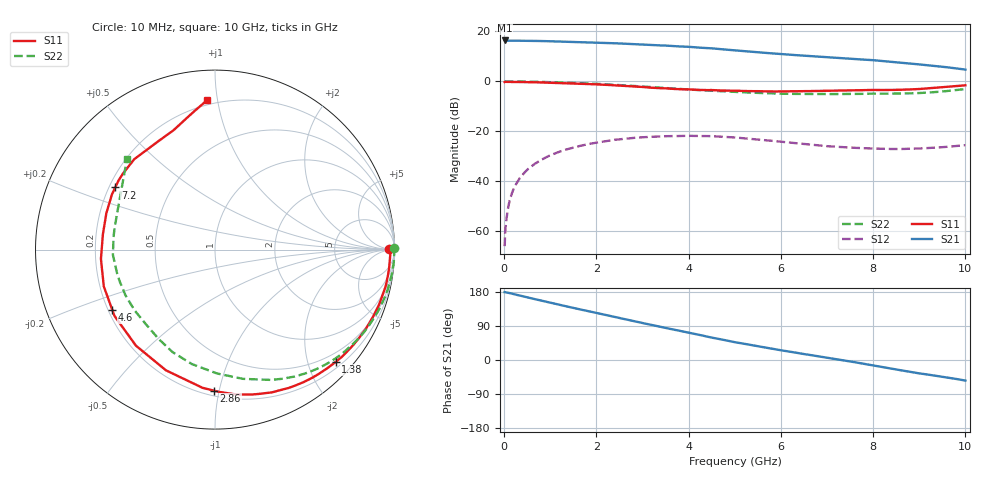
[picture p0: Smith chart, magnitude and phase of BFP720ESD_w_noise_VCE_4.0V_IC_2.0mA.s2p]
! Infineon Technologies  Discrete & RF Semiconductors
! BFP720ESD
! VCE =  4.0 V,  IC =  2.0 mA
! Common Emitter S-Parameters:  Jan 2016
# GHz  S  MA  R  50
!  f  S11  S21  S12  S22
! GHz  MAG  ANG  MAG  ANG  MAG  ANG  MAG  ANG
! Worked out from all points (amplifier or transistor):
!   233 points, 10 MHz to 10 GHz, reference 50 ohm
!   highest |S21| = 16.4 dB at 10 MHz (marker M1)
!   |S21| within 3 dB of that: start of sweep to 4.34 GHz
!   unconditionally stable (mu >= 1): 6.905 GHz to 9.659 GHz
!   at 200 MHz: K = 0.06, MSG = 29.8 dB, |S12| = -43.3 dB
!   at 1.74 GHz: K = 0.18, MSG = 20.6 dB, |S12| = -25.4 dB
!   at 10 GHz: K = 0.69, MSG = 15.1 dB, |S12| = -25.5 dB
!   lowest NFmin = 0.53 dB at 450 MHz
!   S11 on the Smith chart (normalised r, x): 10 MHz: 62, +7; 1.38 GHz: 0.31, -2.50; 2.86 GHz: 0.23, -0.97; 4.6 GHz: 0.22, -0.26; 7.2 GHz: 0.22, +0.27; 10 GHz: 0.17, +0.94
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0.01  0.9684 0.2  6.614 179.1  0.0005 3.3  0.9997 0.6
0.03  0.9806 -0.6  6.504 178.8  0.0012 79.1  0.9964 -0.4
0.105  0.9757 -3.2  6.548 176.9  0.0036 84.3  0.9989 -2.3
0.32  0.973 -9.8  6.549 170.6  0.0109 81.4  0.9955 -7.2
0.7  0.9593 -21.6  6.48 159.7  0.0235 72.6  0.9824 -15.7
0.9  0.9487 -27.9  6.413 154.1  0.0299 67.8  0.9728 -20.2
1.38  0.9183 -43.0  6.232 140.7  0.0441 56.6  0.9428 -30.9
1.68  0.8977 -52.3  6.115 132.6  0.0519 49.8  0.9211 -37.5
2.38  0.8373 -74.2  5.821 114.1  0.0673 34.6  0.8595 -52.8
2.86  0.7859 -90.4  5.584 101.3  0.0747 24.1  0.8053 -63.6
3.4  0.7301 -108.5  5.258 87.2  0.079 12.8  0.7451 -75.5
4  0.6933 -129.4  4.934 72.0  0.0813 1.6  0.6905 -89.0
4.6  0.6637 -149.5  4.508 56.9  0.079 -9.2  0.6423 -103.5
5.1  0.6467 -164.4  4.125 45.0  0.074 -17.0  0.6108 -114.4
5.5  0.6376 -175.3  3.844 36.1  0.0689 -22.1  0.5884 -122.3
6  0.6304 172.2  3.541 25.7  0.0618 -26.2  0.567 -132.5
6.8  0.6441 155.6  3.129 10.0  0.0526 -27.5  0.5586 -148.9
7.2  0.6549 148.1  2.962 2.2  0.0491 -26.2  0.5583 -157.4
8  0.6754 131.8  2.664 -14.6  0.0452 -21.5  0.5696 -177.0
8.4  0.675 122.3  2.462 -23.0  0.0442 -18.2  0.5694 173.1
9  0.7043 109.1  2.191 -35.3  0.0453 -12.7  0.5849 158.0
10  0.8349 92.9  1.726 -54.3  0.0528 -8.2  0.7027 134.3
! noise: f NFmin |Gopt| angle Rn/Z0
0.45  0.53  0.7  6  0.25
0.9  0.56  0.68  14  0.24
1.9  0.65  0.62  37  0.22
2.4  0.73  0.59  45  0.21
5.5  1.15  0.34  129  0.11
10  2.25  0.63  -104  0.6
